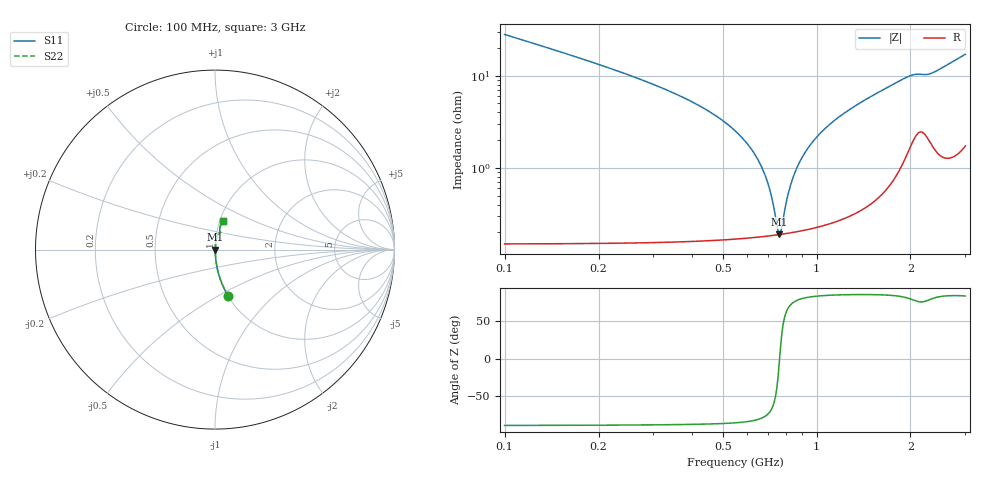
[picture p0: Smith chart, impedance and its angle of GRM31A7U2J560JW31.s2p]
!Murata Part Number: GRM31A7U2J560JW31
!These Parameters are Measured in Series Mode Connection
!Data Generated on Mar 30, 2021
!  o--ll--o
!Port1  Port2
!  o------o
!Operation Temp=25[degC], DC Bias Voltage=0[V]
!Freq. Start=100[MHz] Stop=3[GHz] 401[Steps]
# Hz S RI R 50
!Freq.(Hz) S11(Real) S11(Imag) S21(Real) S21(Imag) S12(Real) S12(Imag) S22(Real) S22(Imag)
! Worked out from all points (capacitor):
!   401 points, 100 MHz to 3 GHz, reference 50 ohm
!   read as one part in series: C = 55.9 pF near 114.5 MHz
!   lowest |Z| = 190 mohm at 759.8 MHz (marker M1)
!   series resonance near 761.2 MHz, so ESL is about 780 pH
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1e8  0.0736 -0.2584  0.9264 0.2584  0.9264 0.2584  0.0736 -0.2584
1.725e8  0.0253 -0.1523  0.9747 0.1523  0.9747 0.1523  0.0253 -0.1523
2.5225e8  0.0115 -0.0992  0.9885 0.0992  0.9885 0.0992  0.0115 -0.0992
4.8425e8  0.00288 -0.0351  0.9971 0.0351  0.9971 0.0351  0.00288 -0.0351
5.8575e8  0.00212 -0.0199  0.9979 0.0199  0.9979 0.0199  0.00212 -0.0199
6.365e8  0.00195 -0.0136  0.9981 0.0136  0.9981 0.0136  0.00195 -0.0136
6.8e8  0.00188 -0.00854  0.9981 0.00854  0.9981 0.00854  0.00188 -0.00854
7.09e8  0.00186 -0.00538  0.9981 0.00538  0.9981 0.00538  0.00186 -0.00538
7.4525e8  0.00188 -0.00161  0.9981 0.00161  0.9981 0.00161  0.00188 -0.00161
7.5975e8  0.00189 -0.000144  0.9981 0.000144  0.9981 0.000144  0.00189 -0.000144
7.7425e8  0.00191 0.00129  0.9981 -0.00129  0.9981 -0.00129  0.00191 0.00129
8.0325e8  0.00196 0.00409  0.998 -0.00409  0.998 -0.00409  0.00196 0.00409
8.25e8  0.00201 0.00614  0.998 -0.00614  0.998 -0.00614  0.00201 0.00614
8.7575e8  0.00216 0.0107  0.9978 -0.0107  0.9978 -0.0107  0.00216 0.0107
9.555e8  0.00248 0.0176  0.9975 -0.0176  0.9975 -0.0176  0.00248 0.0176
1.0715e9  0.00313 0.027  0.9969 -0.027  0.9969 -0.027  0.00313 0.027
1.26725e9  0.00471 0.0419  0.9953 -0.0419  0.9953 -0.0419  0.00471 0.0419
1.55e9  0.00844 0.0627  0.9916 -0.0627  0.9916 -0.0627  0.00844 0.0627
2.03575e9  0.0284 0.0954  0.9716 -0.0954  0.9716 -0.0954  0.0284 0.0954
2.28225e9  0.0296 0.0966  0.9704 -0.0966  0.9704 -0.0966  0.0296 0.0966
2.5215e9  0.0268 0.1158  0.9732 -0.1158  0.9732 -0.1158  0.0268 0.1158
3e9  0.0436 0.1595  0.9564 -0.1595  0.9564 -0.1595  0.0436 0.1595
